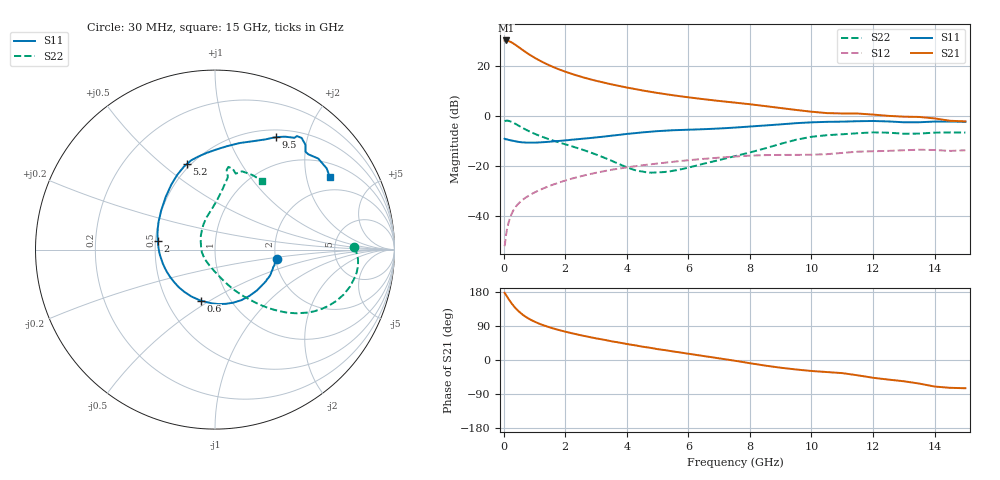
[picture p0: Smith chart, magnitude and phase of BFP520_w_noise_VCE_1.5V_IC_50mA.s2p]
! Infineon Technologies  Discrete & RF Semiconductors
! BFP520
! VCE =  1.5 V,  IC =  50 mA
! Common Emitter S-Parameters:  Oct 2015
# GHz  S  MA  R  50
!  f  S11  S21  S12  S22
! GHz  MAG  ANG  MAG  ANG  MAG  ANG  MAG  ANG
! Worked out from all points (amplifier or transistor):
!   109 points, 30 MHz to 15 GHz, reference 50 ohm
!   highest |S21| = 30.1 dB at 70 MHz (marker M1)
!   |S21| within 3 dB of that: start of sweep to 524.4 MHz
!   unconditionally stable (mu >= 1): start of sweep to 99.5 MHz; 1.13 GHz to end of sweep
!   at 450 MHz: K = 0.69, MSG = 31.6 dB, |S12| = -35.4 dB
!   at 4 GHz: K = 1.33, MAG = 12.5 dB, |S12| = -20.6 dB
!   at 15 GHz: K = 1.43, MAG = 1.9 dB, |S12| = -13.8 dB
!   lowest NFmin = 3.26 dB at 450 MHz
!   S11 on the Smith chart (normalised r, x): 30 MHz: 2.03, -0.24; 600 MHz: 0.73, -0.46; 2 GHz: 0.51, +0.06; 5.2 GHz: 0.48, +0.61; 9.5 GHz: 0.59, +1.51; 15 GHz: 1.45, +2.75
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0.03  0.3484 -8.5  31.73 177.5  0.0025 108.6  0.7745 0.9
0.07  0.3385 -17.2  31.88 172.2  0.0039 92.0  0.7969 -3.2
0.14  0.3338 -31.9  31.32 163.3  0.0066 82.7  0.7977 -10.1
0.2  0.3262 -44.1  30.33 156.0  0.009 78.6  0.7802 -15.3
0.3  0.3176 -62.6  28.1 145.0  0.0125 73.5  0.7343 -22.9
0.35  0.3127 -71.1  26.86 140.0  0.0141 71.5  0.7075 -26.2
0.45  0.304 -86.4  24.34 131.3  0.0169 68.6  0.6539 -31.6
0.6  0.2955 -105.7  20.92 120.7  0.0207 65.8  0.5792 -37.8
0.8  0.291 -126.2  17.22 109.7  0.0251 63.7  0.4995 -43.5
0.9  0.2909 -134.4  15.76 105.3  0.0273 63.2  0.4673 -45.7
1.1  0.2926 -148.5  13.35 97.7  0.0315 62.2  0.4139 -49.5
1.5  0.3038 -169.9  10.07 86.0  0.0401 60.7  0.337 -55.5
2  0.323 171.1  7.603 74.8  0.0509 58.1  0.2699 -62.0
2.6  0.351 153.5  5.804 63.7  0.0641 53.9  0.2067 -70.1
3.5  0.4008 133.4  4.241 49.4  0.0836 46.3  0.1271 -88.8
5.1  0.4982 109.2  2.796 27.6  0.1134 32.0  0.0748 -174.0
5.2  0.5021 108.1  2.737 26.5  0.1152 31.1  0.0753 -179.0
7.6  0.5868 81.7  1.807 -3.1  0.1549 8.6  0.1612 112.1
9.5  0.7123 61.6  1.308 -25.0  0.1659 -9.4  0.3327 83.2
10.5  0.7572 55.6  1.131 -31.8  0.1713 -14.0  0.4102 79.9
13  0.7424 47.2  0.961 -56.1  0.2049 -35.4  0.439 74.8
15  0.7565 32.4  0.774 -74.5  0.2048 -51.8  0.4633 55.6
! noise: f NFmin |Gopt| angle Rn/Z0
0.45  3.26  0.19  -159  0.29
0.9  3.26  0.21  -151  0.32
1.9  3.39  0.27  -127  0.39
2.4  3.38  0.28  -123  0.37
3.5  3.38  0.27  -109  0.45
